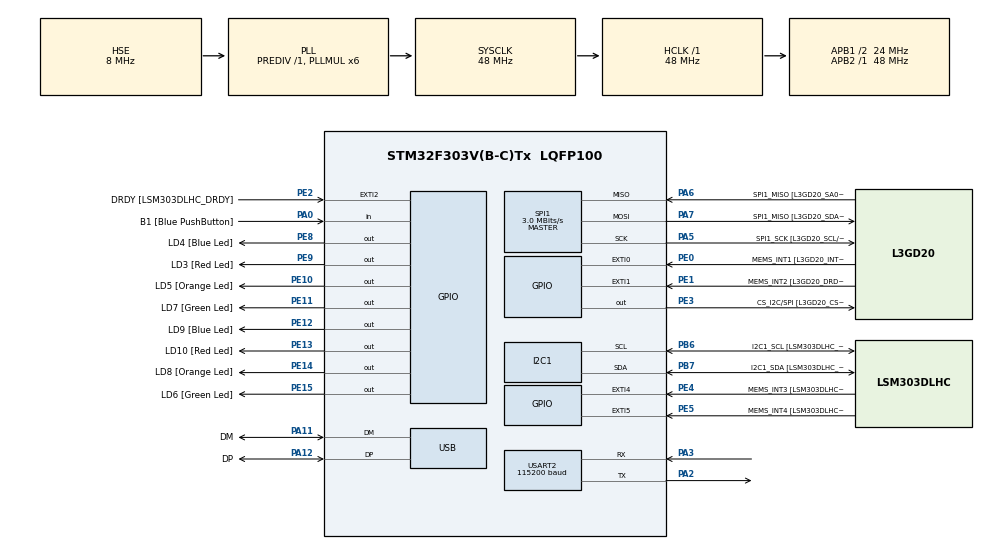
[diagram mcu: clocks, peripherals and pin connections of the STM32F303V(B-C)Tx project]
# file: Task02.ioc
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I2C1.Timing=0x00201D2B
I2C1.Timing-I2C=0x2000090E
Mcu.Family=STM32F3
Mcu.Name=STM32F303V(B-C)Tx
Mcu.Package=LQFP100
NVIC.I2C1_ER_IRQn=true\:0\:0\:false\:false\:true\:true\:true\:true
NVIC.I2C1_EV_IRQn=true\:0\:0\:false\:false\:true\:true\:true\:true
NVIC.PriorityGroup=NVIC_PRIORITYGROUP_0
NVIC.SPI1_IRQn=true\:0\:0\:false\:false\:true\:true\:true\:true
PA0.GPIO_Label=B1 [Blue PushButton]
PA0.Signal=GPIO_Input
PA11.GPIO_Label=DM
PA11.Mode=Device
PA11.Signal=USB_DM
PA12.GPIO_Label=DP
PA12.Mode=Device
PA12.Signal=USB_DP
PA13.GPIO_Label=SWDIO
PA13.Mode=Serial_Wire
PA13.Signal=SYS_JTMS-SWDIO
PA14.GPIO_Label=SWCLK
PA14.Mode=Serial_Wire
PA14.Signal=SYS_JTCK-SWCLK
PA2.Mode=Asynchronous
PA2.Signal=USART2_TX
PA3.Mode=Asynchronous
PA3.Signal=USART2_RX
PA5.GPIO_Label=SPI1_SCK [L3GD20_SCL/SPC]
PA5.Mode=Full_Duplex_Master
PA5.Signal=SPI1_SCK
PA6.GPIO_Label=SPI1_MISO [L3GD20_SA0/SDO]
PA6.Mode=Full_Duplex_Master
PA6.Signal=SPI1_MISO
PA7.GPIO_Label=SPI1_MISO [L3GD20_SDA/SDI/SDO]
PA7.Mode=Full_Duplex_Master
PA7.Signal=SPI1_MOSI
PB3.GPIO_Label=SWO
PB3.Signal=SYS_JTDO-TRACESWO
PB6.GPIO_Label=I2C1_SCL [LSM303DLHC_SCL]
PB6.GPIO_Pu=GPIO_PULLUP
PB6.Mode=I2C
PB6.Signal=I2C1_SCL
PB7.GPIO_Label=I2C1_SDA [LSM303DLHC_SDA]
PB7.GPIO_Pu=GPIO_PULLUP
PB7.Mode=I2C
PB7.Signal=I2C1_SDA
PC14-OSC32_IN.GPIO_Label=OSC32_IN
PC14-OSC32_IN.Signal=RCC_OSC32_IN
PC15-OSC32_OUT.GPIO_Label=OSC32_OUT
PC15-OSC32_OUT.Signal=RCC_OSC32_OUT
PE0.GPIO_Label=MEMS_INT1 [L3GD20_INT1]
PE0.GPIO_ModeDefaultEXTI=GPIO_MODE_EVT_RISING
PE0.Signal=GPXTI0
PE1.GPIO_Label=MEMS_INT2 [L3GD20_DRDY/INT2]
PE1.GPIO_ModeDefaultEXTI=GPIO_MODE_EVT_RISING
PE1.Signal=GPXTI1
PE10.GPIO_Label=LD5 [Orange Led]
PE10.Signal=GPIO_Output
PE11.GPIO_Label=LD7 [Green Led]
PE11.Signal=GPIO_Output
PE12.GPIO_Label=LD9 [Blue Led]
PE12.Signal=GPIO_Output
PE13.GPIO_Label=LD10 [Red Led]
PE13.Signal=GPIO_Output
PE14.GPIO_Label=LD8 [Orange Led]
PE14.Signal=GPIO_Output
PE15.GPIO_Label=LD6 [Green Led]
PE15.Signal=GPIO_Output
PE2.GPIO_Label=DRDY [LSM303DLHC_DRDY]
PE2.GPIO_ModeDefaultEXTI=GPIO_MODE_EVT_RISING
PE2.Signal=GPXTI2
PE3.GPIO_Label=CS_I2C/SPI [L3GD20_CS_I2C/SPI]
PE3.Signal=GPIO_Output
PE4.GPIO_Label=MEMS_INT3 [LSM303DLHC_INT1]
PE4.GPIO_ModeDefaultEXTI=GPIO_MODE_EVT_RISING
PE4.Signal=GPXTI4
PE5.GPIO_Label=MEMS_INT4 [LSM303DLHC_INT2]
PE5.GPIO_ModeDefaultEXTI=GPIO_MODE_EVT_RISING
PE5.Signal=GPXTI5
PE8.GPIO_Label=LD4 [Blue Led]
PE8.Signal=GPIO_Output
PE9.GPIO_Label=LD3 [Red Led]
PE9.Signal=GPIO_Output
PF0-OSC_IN.GPIO_Label=OSC_IN
PF0-OSC_IN.Mode=HSE-External-Clock-Source
PF0-OSC_IN.Signal=RCC_OSC_IN
PF1-OSC_OUT.GPIO_Label=OSC_OUT
PF1-OSC_OUT.Signal=RCC_OSC_OUT
ProjectManager.HeapSize=0x200
ProjectManager.StackSize=0x400
ProjectManager.TargetToolchain=CMake
RCC.AHBFreq_Value=48000000
RCC.APB1CLKDivider=RCC_HCLK_DIV2
RCC.APB1Freq_Value=24000000
RCC.APB1TimFreq_Value=48000000
RCC.APB2Freq_Value=48000000
RCC.APB2TimFreq_Value=48000000
RCC.CortexFreq_Value=48000000
RCC.HCLKFreq_Value=48000000
RCC.HSE_VALUE=8000000
RCC.HSI_VALUE=8000000
RCC.LSE_VALUE=32768
RCC.PLLMUL=RCC_PLL_MUL6
RCC.SYSCLKFreq_VALUE=48000000
RCC.SYSCLKSourceVirtual=RCC_SYSCLKSOURCE_PLLCLK
RCC.USBFreq_Value=48000000
SPI1.BaudRatePrescaler=SPI_BAUDRATEPRESCALER_16
SPI1.BaudRatePrescaler-Full_Duplex_Master=SPI_BAUDRATEPRESCALER_2
SPI1.CLKPhase=SPI_PHASE_2EDGE
SPI1.CLKPolarity=SPI_POLARITY_HIGH
SPI1.CalculateBaudRate=3.0 MBits/s
SPI1.CalculateBaudRate-Full_Duplex_Master=24.0 MBits/s
SPI1.Direction=SPI_DIRECTION_2LINES
SPI1.Mode=SPI_MODE_MASTER
SPI1.Mode-Full_Duplex_Master=SPI_MODE_MASTER
SPI1.VirtualType=VM_MASTER
USART2.BaudRate=115200
USART2.VirtualMode-Asynchronous=VM_ASYNC
board=STM32F3DISCOVERY

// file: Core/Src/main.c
/* USER CODE BEGIN Header */
/**
  ******************************************************************************
  * @file           : main.c
  * @brief          : Main program body
  ******************************************************************************
  * @attention
  *
  * Copyright (c) 2026 STMicroelectronics.
  * All rights reserved.
  *
  * This software is licensed under terms that can be found in the LICENSE file
  * in the root directory of this software component.
  * If no LICENSE file comes with this software, it is provided AS-IS.
  *
  ******************************************************************************
  */
/* USER CODE END Header */
#include "main.h"
#include "stm32f3xx_hal.h"
#include <stdint.h>
#include <stdio.h>
#include <string.h>

I2C_HandleTypeDef hi2c1;

SPI_HandleTypeDef hspi1;

UART_HandleTypeDef huart2;

PCD_HandleTypeDef hpcd_USB_FS;

void SystemClock_Config(void);
static void MX_GPIO_Init(void);
static void MX_I2C1_Init(void);
static void MX_SPI1_Init(void);
static void MX_USB_PCD_Init(void);
static void MX_USART2_UART_Init(void);

/* USER CODE BEGIN 0 */
#define DevAddress 0x19 << 1
#define OUT_X_L  0x28
# define CTRL_REG1 0x20
# define CTRL_REG1_VAL 0b10001111
void gyro_init ()
{
  uint8_t tx [2] = {CTRL_REG1 , CTRL_REG1_VAL};
  HAL_GPIO_WritePin (GPIOE , GPIO_PIN_3 , GPIO_PIN_RESET);
  HAL_SPI_Transmit (& hspi1 , tx , 2, HAL_MAX_DELAY);
  HAL_GPIO_WritePin (GPIOE , GPIO_PIN_3 , GPIO_PIN_SET  );
}
float acceleration_x, acceleration_tilt_x;
int16_t gyro_x;
int32_t acc_offset = 0;
int32_t gyro_offset = 0;
void gyro_read_x()
{
    uint8_t tx = OUT_X_L | 0x80 | 0x40;
    uint8_t rx[6] = {0};

    HAL_GPIO_WritePin(GPIOE, GPIO_PIN_3, GPIO_PIN_RESET);  // CS LOW once
    HAL_SPI_Transmit(&hspi1, &tx, 1, HAL_MAX_DELAY);
    HAL_SPI_Receive(&hspi1, rx, 6, HAL_MAX_DELAY);
    HAL_GPIO_WritePin(GPIOE, GPIO_PIN_3, GPIO_PIN_SET);    // CS HIGH once

    gyro_x = (int16_t)((rx[1] << 8) | rx[0]);
    gyro_x -= gyro_offset;
}
#define CTRL_REG1_A 0x20
#define CTRL_REG4_A 0x23
void Init_LSM()
{
  uint8_t write_reg_1 = 0x67;
  uint8_t write_reg_4 = 0x00;
  HAL_I2C_Mem_Write(&hi2c1, DevAddress, CTRL_REG1_A, I2C_MEMADD_SIZE_8BIT, &write_reg_1, sizeof(write_reg_1), 100);
  HAL_I2C_Mem_Write(&hi2c1, DevAddress, CTRL_REG4_A, I2C_MEMADD_SIZE_8BIT, &write_reg_4, sizeof(write_reg_4), 100);
}

void Read_LSM()
{
  uint8_t low;
  uint8_t high;
  HAL_I2C_Mem_Read(&hi2c1, DevAddress, 0x28, I2C_MEMADD_SIZE_8BIT, &low, sizeof(low), 100);
  HAL_I2C_Mem_Read(&hi2c1, DevAddress, 0x29, I2C_MEMADD_SIZE_8BIT, &high, sizeof(high), 100);
  int16_t raw = (high << 8) | low;
  acceleration_x = (raw * 3.9) / 1000;
  acceleration_tilt_x = raw * 57.2958;
  acceleration_x -= acc_offset;
}
void Print_LSM()
{
  char buffer[50];
  float gyro_x_dps = gyro_x * 0.00875f;
  sprintf(buffer, "%.2f,%.2f\r\n", acceleration_x, gyro_x_dps);
  HAL_UART_Transmit(&huart2, (uint8_t*)buffer, strlen(buffer), HAL_MAX_DELAY);
}
void offset_LSM()
{
  for (int i = 0; i < 20; i++)
  {
    Read_LSM();
    gyro_read_x();
    acc_offset += acceleration_x;
    gyro_offset += gyro_x;
    HAL_Delay(10);
  }
  gyro_offset /= 20;
  acc_offset /= 20;
}
/* USER CODE END 0 */

int main(void)
{

  /* MCU Configuration--------------------------------------------------------*/

  /* Reset of all peripherals, Initializes the Flash interface and the Systick. */
  HAL_Init();

  /* Configure the system clock */
  SystemClock_Config();

  /* Initialize all configured peripherals */
  MX_GPIO_Init();
  MX_I2C1_Init();
  MX_SPI1_Init();
  MX_USB_PCD_Init();
  MX_USART2_UART_Init();
  /* USER CODE BEGIN 2 */

  Init_LSM();
  HAL_Delay(100);
  gyro_init();
  HAL_Delay(100);
  offset_LSM();
  /* USER CODE END 2 */

  /* Infinite loop */
  while (1)
  {
    Read_LSM();
    HAL_Delay(100);
    gyro_read_x();
    HAL_Delay(100);
    Print_LSM();
    HAL_Delay(100);
  }
}

void SystemClock_Config(void)
{
  RCC_OscInitTypeDef RCC_OscInitStruct = {0};
  RCC_ClkInitTypeDef RCC_ClkInitStruct = {0};
  RCC_PeriphCLKInitTypeDef PeriphClkInit = {0};

  /** Initializes the RCC Oscillators according to the specified parameters
  * in the RCC_OscInitTypeDef structure.
  */
  RCC_OscInitStruct.OscillatorType = RCC_OSCILLATORTYPE_HSI|RCC_OSCILLATORTYPE_HSE;
  RCC_OscInitStruct.HSEState = RCC_HSE_BYPASS;
  RCC_OscInitStruct.HSEPredivValue = RCC_HSE_PREDIV_DIV1;
  RCC_OscInitStruct.HSIState = RCC_HSI_ON;
  RCC_OscInitStruct.HSICalibrationValue = RCC_HSICALIBRATION_DEFAULT;
  RCC_OscInitStruct.PLL.PLLState = RCC_PLL_ON;
  RCC_OscInitStruct.PLL.PLLSource = RCC_PLLSOURCE_HSE;
  RCC_OscInitStruct.PLL.PLLMUL = RCC_PLL_MUL6;
  if (HAL_RCC_OscConfig(&RCC_OscInitStruct) != HAL_OK)
  {
    Error_Handler();
  }

  /** Initializes the CPU, AHB and APB buses clocks
  */
  RCC_ClkInitStruct.ClockType = RCC_CLOCKTYPE_HCLK|RCC_CLOCKTYPE_SYSCLK
                              |RCC_CLOCKTYPE_PCLK1|RCC_CLOCKTYPE_PCLK2;
  RCC_ClkInitStruct.SYSCLKSource = RCC_SYSCLKSOURCE_PLLCLK;
  RCC_ClkInitStruct.AHBCLKDivider = RCC_SYSCLK_DIV1;
  RCC_ClkInitStruct.APB1CLKDivider = RCC_HCLK_DIV2;
  RCC_ClkInitStruct.APB2CLKDivider = RCC_HCLK_DIV1;

  if (HAL_RCC_ClockConfig(&RCC_ClkInitStruct, FLASH_LATENCY_1) != HAL_OK)
  {
    Error_Handler();
  }
  PeriphClkInit.PeriphClockSelection = RCC_PERIPHCLK_USB|RCC_PERIPHCLK_USART2
                              |RCC_PERIPHCLK_I2C1;
  PeriphClkInit.Usart2ClockSelection = RCC_USART2CLKSOURCE_PCLK1;
  PeriphClkInit.I2c1ClockSelection = RCC_I2C1CLKSOURCE_HSI;
  PeriphClkInit.USBClockSelection = RCC_USBCLKSOURCE_PLL;
  if (HAL_RCCEx_PeriphCLKConfig(&PeriphClkInit) != HAL_OK)
  {
    Error_Handler();
  }
}

static void MX_I2C1_Init(void)
{

  hi2c1.Instance = I2C1;
  hi2c1.Init.Timing = 0x00201D2B;
  hi2c1.Init.OwnAddress1 = 0;
  hi2c1.Init.AddressingMode = I2C_ADDRESSINGMODE_7BIT;
  hi2c1.Init.DualAddressMode = I2C_DUALADDRESS_DISABLE;
  hi2c1.Init.OwnAddress2 = 0;
  hi2c1.Init.OwnAddress2Masks = I2C_OA2_NOMASK;
  hi2c1.Init.GeneralCallMode = I2C_GENERALCALL_DISABLE;
  hi2c1.Init.NoStretchMode = I2C_NOSTRETCH_DISABLE;
  if (HAL_I2C_Init(&hi2c1) != HAL_OK)
  {
    Error_Handler();
  }

  /** Configure Analogue filter
  */
  if (HAL_I2CEx_ConfigAnalogFilter(&hi2c1, I2C_ANALOGFILTER_ENABLE) != HAL_OK)
  {
    Error_Handler();
  }

  /** Configure Digital filter
  */
  if (HAL_I2CEx_ConfigDigitalFilter(&hi2c1, 0) != HAL_OK)
  {
    Error_Handler();
  }

}

static void MX_SPI1_Init(void)
{

  /* SPI1 parameter configuration*/
  hspi1.Instance = SPI1;
  hspi1.Init.Mode = SPI_MODE_MASTER;
  hspi1.Init.Direction = SPI_DIRECTION_2LINES;
  hspi1.Init.DataSize = SPI_DATASIZE_8BIT;
  hspi1.Init.CLKPolarity = SPI_POLARITY_HIGH;
  hspi1.Init.CLKPhase = SPI_PHASE_2EDGE;
  hspi1.Init.NSS = SPI_NSS_SOFT;
  hspi1.Init.BaudRatePrescaler = SPI_BAUDRATEPRESCALER_16;
  hspi1.Init.FirstBit = SPI_FIRSTBIT_MSB;
  hspi1.Init.TIMode = SPI_TIMODE_DISABLE;
  hspi1.Init.CRCCalculation = SPI_CRCCALCULATION_DISABLE;
  hspi1.Init.CRCPolynomial = 7;
  hspi1.Init.CRCLength = SPI_CRC_LENGTH_DATASIZE;
  hspi1.Init.NSSPMode = SPI_NSS_PULSE_DISABLE;
  if (HAL_SPI_Init(&hspi1) != HAL_OK)
  {
    Error_Handler();
  }

}

static void MX_USART2_UART_Init(void)
{

  huart2.Instance = USART2;
  huart2.Init.BaudRate = 115200;
  huart2.Init.WordLength = UART_WORDLENGTH_8B;
  huart2.Init.StopBits = UART_STOPBITS_1;
  huart2.Init.Parity = UART_PARITY_NONE;
  huart2.Init.Mode = UART_MODE_TX_RX;
  huart2.Init.HwFlowCtl = UART_HWCONTROL_NONE;
  huart2.Init.OverSampling = UART_OVERSAMPLING_16;
  huart2.Init.OneBitSampling = UART_ONE_BIT_SAMPLE_DISABLE;
  huart2.AdvancedInit.AdvFeatureInit = UART_ADVFEATURE_NO_INIT;
  if (HAL_UART_Init(&huart2) != HAL_OK)
  {
    Error_Handler();
  }

}

static void MX_USB_PCD_Init(void)
{

  hpcd_USB_FS.Instance = USB;
  hpcd_USB_FS.Init.dev_endpoints = 8;
  hpcd_USB_FS.Init.speed = PCD_SPEED_FULL;
  hpcd_USB_FS.Init.phy_itface = PCD_PHY_EMBEDDED;
  hpcd_USB_FS.Init.low_power_enable = DISABLE;
  hpcd_USB_FS.Init.battery_charging_enable = DISABLE;
  if (HAL_PCD_Init(&hpcd_USB_FS) != HAL_OK)
  {
    Error_Handler();
  }

}

static void MX_GPIO_Init(void)
{
  GPIO_InitTypeDef GPIO_InitStruct = {0};

  /* GPIO Ports Clock Enable */
  __HAL_RCC_GPIOE_CLK_ENABLE();
  __HAL_RCC_GPIOC_CLK_ENABLE();
  __HAL_RCC_GPIOF_CLK_ENABLE();
  __HAL_RCC_GPIOA_CLK_ENABLE();
  __HAL_RCC_GPIOB_CLK_ENABLE();

  /*Configure GPIO pin Output Level */
  HAL_GPIO_WritePin(GPIOE, CS_I2C_SPI_Pin|LD4_Pin|LD3_Pin|LD5_Pin
                          |LD7_Pin|LD9_Pin|LD10_Pin|LD8_Pin
                          |LD6_Pin, GPIO_PIN_RESET);

  /*Configure GPIO pins : DRDY_Pin MEMS_INT3_Pin MEMS_INT4_Pin MEMS_INT1_Pin
                           MEMS_INT2_Pin */
  GPIO_InitStruct.Pin = DRDY_Pin|MEMS_INT3_Pin|MEMS_INT4_Pin|MEMS_INT1_Pin
                          |MEMS_INT2_Pin;
  GPIO_InitStruct.Mode = GPIO_MODE_EVT_RISING;
  GPIO_InitStruct.Pull = GPIO_NOPULL;
  HAL_GPIO_Init(GPIOE, &GPIO_InitStruct);

  /*Configure GPIO pins : CS_I2C_SPI_Pin LD4_Pin LD3_Pin LD5_Pin
                           LD7_Pin LD9_Pin LD10_Pin LD8_Pin
                           LD6_Pin */
  GPIO_InitStruct.Pin = CS_I2C_SPI_Pin|LD4_Pin|LD3_Pin|LD5_Pin
                          |LD7_Pin|LD9_Pin|LD10_Pin|LD8_Pin
                          |LD6_Pin;
  GPIO_InitStruct.Mode = GPIO_MODE_OUTPUT_PP;
  GPIO_InitStruct.Pull = GPIO_NOPULL;
  GPIO_InitStruct.Speed = GPIO_SPEED_FREQ_LOW;
  HAL_GPIO_Init(GPIOE, &GPIO_InitStruct);

  /*Configure GPIO pin : B1_Pin */
  GPIO_InitStruct.Pin = B1_Pin;
  GPIO_InitStruct.Mode = GPIO_MODE_INPUT;
  GPIO_InitStruct.Pull = GPIO_NOPULL;
  HAL_GPIO_Init(B1_GPIO_Port, &GPIO_InitStruct);

}

void Error_Handler(void)
{
  __disable_irq();
  while (1)
  {
  }
}
